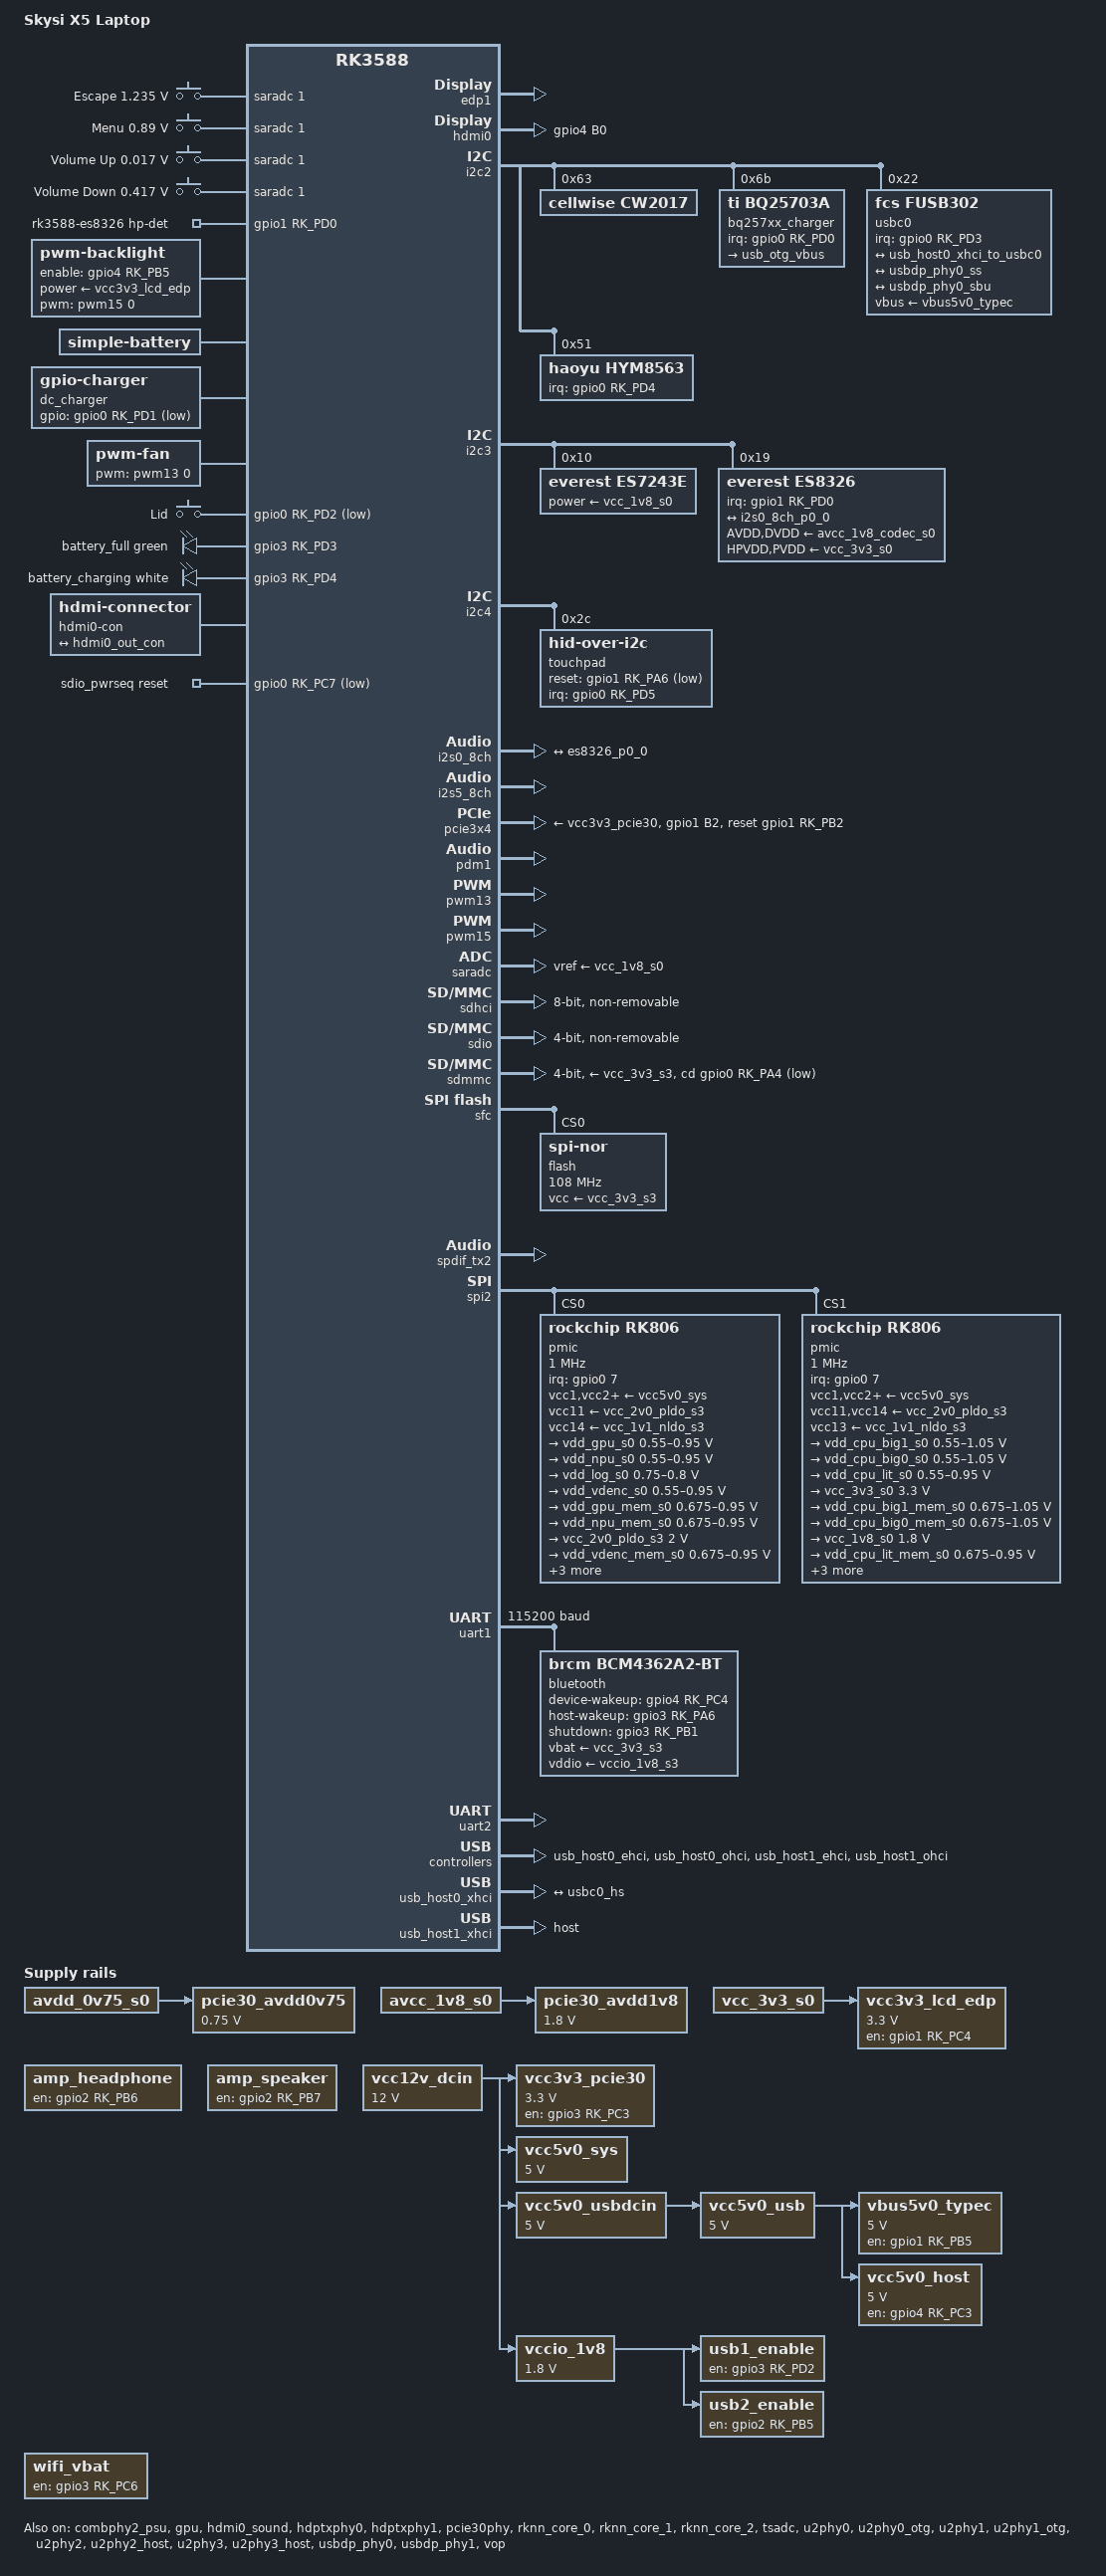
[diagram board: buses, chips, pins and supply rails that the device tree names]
// SPDX-License-Identifier: (GPL-2.0+ OR MIT)
/*
 * Copyright (c) 2026 Rockchip Electronics Co., Ltd.
 * Copyright (c) 2026 bingo1991
 */

/dts-v1/;

#include <dt-bindings/clock/rockchip,rk3588-cru.h>
#include <dt-bindings/gpio/gpio.h>
#include <dt-bindings/input/gpio-keys.h>
#include <dt-bindings/input/input.h>
#include <dt-bindings/leds/common.h>
#include <dt-bindings/pinctrl/rockchip.h>
#include <dt-bindings/pwm/pwm.h>
#include <dt-bindings/soc/rockchip,vop2.h>
#include <dt-bindings/usb/pd.h>
#include "rk3588.dtsi"

/ {
	model = "Skysi X5 Laptop";
	compatible = "rockchip,rk3588-skysi-x5", "rockchip,rk3588";
	chassis-type = "laptop";

	aliases {
		mmc0 = &sdhci;
		mmc1 = &sdmmc;
		mmc2 = &sdio;
		serial2 = &uart2;
	};

	chosen {
		stdout-path = "serial2:1500000n8";
	};

	adc-keys {
		compatible = "adc-keys";
		io-channels = <&saradc 1>;
		io-channel-names = "buttons";
		keyup-threshold-microvolt = <1800000>;
		poll-interval = <100>;

		button-escape {
			label = "Escape";
			linux,code = <KEY_ESC>;
			press-threshold-microvolt = <1235000>;
		};

		button-menu {
			label = "Menu";
			linux,code = <KEY_MENU>;
			press-threshold-microvolt = <890000>;
		};

		button-vol-up {
			label = "Volume Up";
			linux,code = <KEY_VOLUMEUP>;
			press-threshold-microvolt = <17000>;
		};

		button-vol-down {
			label = "Volume Down";
			linux,code = <KEY_VOLUMEDOWN>;
			press-threshold-microvolt = <417000>;
		};
	};

	amp_headphone: amplifier-headphone {
		compatible = "regulator-fixed";
		regulator-name = "hdp_power";
		gpio = <&gpio2 RK_PB6 GPIO_ACTIVE_HIGH>;
		enable-active-high;
		regulator-always-on;
	};

	amp_speaker: amplifier-speaker {
		compatible = "regulator-fixed";
		regulator-name = "spk_power";
		gpio = <&gpio2 RK_PB7 GPIO_ACTIVE_HIGH>;
		enable-active-high;
		regulator-always-on;
	};

	analog-sound {
		compatible = "audio-graph-card";
		label = "rk3588-es8326";

		widgets =
			"Headphone", "Headphones",
			"Speaker", "Speakers",
			"Microphone", "Headset Mic",
			"Microphone", "Main Mic";

		routing =
			"Headphones", "HPOL",
			"Headphones", "HPOR",
			"Speakers", "HPOL",
			"Speakers", "HPOR",
			"MIC1", "Headset Mic",
			"MIC2", "Main Mic";

		dais = <&i2s0_8ch_p0>;
		hp-det-gpios = <&gpio1 RK_PD0 GPIO_ACTIVE_HIGH>;
		pinctrl-names = "default";
		pinctrl-0 = <&hp_detect>;
	};

	backlight: backlight {
		compatible = "pwm-backlight";
		brightness-levels = <0 255>;
		default-brightness-level = <200>;
		num-interpolated-steps = <255>;
		power-supply = <&vcc3v3_lcd_edp>;
		pwms = <&pwm15 0 25000 0>;
		enable-gpios = <&gpio4 RK_PB5 GPIO_ACTIVE_HIGH>;
		pinctrl-names = "default";
		pinctrl-0 = <&lcd_backlight_en>;
	};

	battery: battery {
		compatible = "simple-battery";
		charge-full-design-microamp-hours = <6000000>;
		constant-charge-current-max-microamp = <5000000>;
		constant-charge-voltage-max-microvolt = <8700000>;
		voltage-max-design-microvolt = <8700000>;
		voltage-min-design-microvolt = <7600000>;
		power-supplies = <&dc_charger &bq257xx_charger>;
	};

	dc_charger: dc-charger {
		compatible = "gpio-charger";
		charger-type = "mains";
		charge-current-limit-default-microamp = <5000000>;
		gpios = <&gpio0 RK_PD1 GPIO_ACTIVE_LOW>;
		pinctrl-names = "default";
		pinctrl-0 = <&dc_det>;
		wakeup-source;
	};

	dmic_sound: dmic-sound {
		compatible = "simple-audio-card";
		simple-audio-card,format = "i2s";
		simple-audio-card,name = "rk3588-dmic";
		simple-audio-card,mclk-fs = <256>;

		simple-audio-card,cpu {
			format = "pdm";
			sound-dai = <&pdm1>;
		};

		simple-audio-card,codec {
			sound-dai = <&es7243e>;
		};
	};

	fan: pwm-fan {
		compatible = "pwm-fan";
		#cooling-cells = <2>;
		pwms = <&pwm13 0 50000 0>;
		cooling-levels = <0 120 150 180 210 240 255>;
	};

	gpio_keys: gpio-keys {
		compatible = "gpio-keys";
		pinctrl-names = "default";
		pinctrl-0 = <&sw_lid>;

		switch-lid {
			debounce-interval = <20>;
			gpios = <&gpio0 RK_PD2 GPIO_ACTIVE_LOW>;
			label = "Lid";
			linux,code = <SW_LID>;
			linux,input-type = <EV_SW>;
			wakeup-source;
		};
	};

	gpio_leds: gpio-leds {
		compatible = "gpio-leds";
		pinctrl-names = "default";
		pinctrl-0 = <&leds_gpio>;

		charge_indicator: led1 {
			color = <LED_COLOR_ID_GREEN>;
			default-state = "off";
			gpios = <&gpio3 RK_PD3 GPIO_ACTIVE_HIGH>;
			label = "battery_full";
			linux,default-trigger = "cw2017-battery-full";
			retain-state-suspended;
		};

		power_indicator: led2 {
			color = <LED_COLOR_ID_WHITE>;
			default-state = "off";
			gpios = <&gpio3 RK_PD4 GPIO_ACTIVE_HIGH>;
			label = "battery_charging";
			linux,default-trigger = "cw2017-battery-charging";
			retain-state-suspended;
		};
	};

	hdmi0-con {
		compatible = "hdmi-connector";
		type = "a";

		port {
			hdmi0_con_in: endpoint {
				remote-endpoint = <&hdmi0_out_con>;
			};
		};
	};

	pcie30_avdd0v75: regulator-pcie30-avdd0v75 {
		compatible = "regulator-fixed";
		regulator-name = "pcie30_avdd0v75";
		regulator-always-on;
		regulator-boot-on;
		regulator-min-microvolt = <750000>;
		regulator-max-microvolt = <750000>;
		vin-supply = <&avdd_0v75_s0>;
	};

	pcie30_avdd1v8: regulator-pcie30-avdd1v8 {
		compatible = "regulator-fixed";
		regulator-name = "pcie30_avdd1v8";
		regulator-always-on;
		regulator-boot-on;
		regulator-min-microvolt = <1800000>;
		regulator-max-microvolt = <1800000>;
		vin-supply = <&avcc_1v8_s0>;
	};

	vbus5v0_typec: regulator-vbus5v0-typec {
		compatible = "regulator-fixed";
		enable-active-high;
		gpios = <&gpio1 RK_PB5 GPIO_ACTIVE_HIGH>;
		pinctrl-names = "default";
		pinctrl-0 = <&typec5v_pwren>;
		regulator-name = "vbus5v0_typec";
		regulator-min-microvolt = <5000000>;
		regulator-max-microvolt = <5000000>;
		vin-supply = <&vcc5v0_usb>;
	};

	vcc12v_dcin: regulator-vcc12v-dcin {
		compatible = "regulator-fixed";
		regulator-name = "vcc12v_dcin";
		regulator-always-on;
		regulator-boot-on;
		regulator-min-microvolt = <12000000>;
		regulator-max-microvolt = <12000000>;
	};

	vcc3v3_lcd_edp: regulator-vcc3v3-lcd-edp {
		compatible = "regulator-fixed";
		enable-active-high;
		gpios = <&gpio1 RK_PC4 GPIO_ACTIVE_HIGH>;
		pinctrl-names = "default";
		pinctrl-0 = <&vcc3v3_lcd_edp_en>;
		regulator-boot-on;
		regulator-max-microvolt = <3300000>;
		regulator-min-microvolt = <3300000>;
		regulator-name = "vcc3v3_lcd_edp";
		vin-supply = <&vcc_3v3_s0>;

		regulator-state-mem {
			regulator-off-in-suspend;
		};
	};

	vcc3v3_pcie30: regulator-vcc3v3-pcie30 {
		compatible = "regulator-fixed";
		regulator-name = "vcc3v3_pcie30";
		regulator-min-microvolt = <3300000>;
		regulator-max-microvolt = <3300000>;
		enable-active-high;
		gpios = <&gpio3 RK_PC3 GPIO_ACTIVE_HIGH>;
		startup-delay-us = <5000>;
		vin-supply = <&vcc12v_dcin>;
		pinctrl-names = "default";
		pinctrl-0 = <&vcc3v3_pcie30_en>;
	};

	vcc5v0_host: regulator-vcc5v0-host {
		compatible = "regulator-fixed";
		regulator-name = "vcc5v0_host";
		regulator-boot-on;
		regulator-always-on;
		regulator-min-microvolt = <5000000>;
		regulator-max-microvolt = <5000000>;
		enable-active-high;
		gpios = <&gpio4 RK_PC3 GPIO_ACTIVE_HIGH>;
		pinctrl-names = "default";
		pinctrl-0 = <&vcc5v0_host_en>;
		vin-supply = <&vcc5v0_usb>;
	};

	vcc5v0_sys: regulator-vcc5v0-sys {
		compatible = "regulator-fixed";
		regulator-name = "vcc5v0_sys";
		regulator-always-on;
		regulator-boot-on;
		regulator-min-microvolt = <5000000>;
		regulator-max-microvolt = <5000000>;
		vin-supply = <&vcc12v_dcin>;
	};

	vcc5v0_usbdcin: regulator-vcc5v0-usbdcin {
		compatible = "regulator-fixed";
		regulator-name = "vcc5v0_usbdcin";
		regulator-always-on;
		regulator-boot-on;
		regulator-min-microvolt = <5000000>;
		regulator-max-microvolt = <5000000>;
		vin-supply = <&vcc12v_dcin>;
	};

	vcc5v0_usb: regulator-vcc5v0-usb {
		compatible = "regulator-fixed";
		regulator-name = "vcc5v0_usb";
		regulator-always-on;
		regulator-boot-on;
		regulator-min-microvolt = <5000000>;
		regulator-max-microvolt = <5000000>;
		vin-supply = <&vcc5v0_usbdcin>;
	};

	vccio_1v8: regulator-vccio-1v8 {
		compatible = "regulator-fixed";
		regulator-always-on;
		regulator-boot-on;
		regulator-min-microvolt = <1800000>;
		regulator-max-microvolt = <1800000>;
		regulator-name = "vccio_1v8";
		vin-supply = <&vcc12v_dcin>;
	};

	wifi_vbat: regulator-wifi-vbat {
		compatible = "regulator-fixed";
		enable-active-high;
		gpios = <&gpio3 RK_PC6 GPIO_ACTIVE_HIGH>;
		pinctrl-names = "default";
		pinctrl-0 = <&wifi_pwren>;
		regulator-always-on;
		regulator-boot-on;
		regulator-name = "wifi_vbat";
	};

	sdio_pwrseq: sdio-pwrseq {
		compatible = "mmc-pwrseq-simple";
		clocks = <&hym8563>;
		clock-names = "ext_clock";
		pinctrl-names = "default";
		pinctrl-0 = <&wifi_enable_h>;
		/*
		 * On the module itself this is one of these (depending
		 * on the actual card populated):
		 * - SDIO_RESET_L_WL_REG_ON
		 * - PDN (power down when low)
		 */
		post-power-on-delay-ms = <200>;
		reset-gpios = <&gpio0 RK_PC7 GPIO_ACTIVE_LOW>;
	};

	usb1_enable: regulator-usb1-enable {
		compatible = "regulator-fixed";
		regulator-name = "usb1_enable";
		gpio = <&gpio3 RK_PD2 GPIO_ACTIVE_HIGH>;
		enable-active-high;
		regulator-always-on;
		regulator-boot-on;
		vin-supply = <&vccio_1v8>;
	};

	usb2_enable: regulator-usb2-enable {
		compatible = "regulator-fixed";
		regulator-name = "usb2_enable";
		gpio = <&gpio2 RK_PB5 GPIO_ACTIVE_HIGH>;
		enable-active-high;
		regulator-always-on;
		regulator-boot-on;
		vin-supply = <&vccio_1v8>;
	};
};

&combphy0_ps {	// PCIe2.0 or SATA3.0 Combo PHY0
	status = "disabled";
};

&combphy1_ps {	// PCIe2.0 or SATA3.0 Combo PHY1
	status = "disabled";
};

&combphy2_psu {	// PCIe2.0 or SATA3.0 or USB3.0 HOST Combo PHY2
	status = "okay";
};

&cpu_b0 {
	cpu-supply = <&vdd_cpu_big0_s0>;
};

&cpu_b1 {
	cpu-supply = <&vdd_cpu_big0_s0>;
};

&cpu_b2 {
	cpu-supply = <&vdd_cpu_big1_s0>;
};

&cpu_b3 {
	cpu-supply = <&vdd_cpu_big1_s0>;
};

&cpu_l0 {
	cpu-supply = <&vdd_cpu_lit_s0>;
};

&cpu_l1 {
	cpu-supply = <&vdd_cpu_lit_s0>;
};

&cpu_l2 {
	cpu-supply = <&vdd_cpu_lit_s0>;
};

&cpu_l3 {
	cpu-supply = <&vdd_cpu_lit_s0>;
};

&edp1 {
	force-hpd;
	status = "okay";

	aux-bus {
		panel {
			/* Autual panel AUO403D(B140HAN04.0) has applicable EDID timing
			   Use compatible BOE panel timing, but set bpc to 8 */
			compatible = "boe,nv140fhmn49";
			backlight = <&backlight>;
			bpc = <8>;
			power-supply = <&vcc3v3_lcd_edp>;
			no-hpd;

			port {
				panel_in_edp1: endpoint {
					remote-endpoint = <&edp1_out_panel>;
				};
			};
		};
	};
};

&edp1_in {
	edp1_in_vp2: endpoint {
		remote-endpoint = <&vp2_out_edp1>;
	};
};

&edp1_out {
	edp1_out_panel: endpoint {
		remote-endpoint = <&panel_in_edp1>;
	};
};

&gpu {
	mali-supply = <&vdd_gpu_s0>;
	sram-supply = <&vdd_gpu_mem_s0>;
	status = "okay";
};

&hdmi0 {
	pinctrl-names = "default";
	pinctrl-0 = <&hdmi_en &hdmim0_tx0_hpd
		     &hdmim0_tx0_scl &hdmim0_tx0_sda>;
	status = "okay";
};

&hdmi0_in {
	hdmi0_in_vp1: endpoint {
		remote-endpoint = <&vp1_out_hdmi0>;
	};
};

&hdmi0_out {
	hdmi0_out_con: endpoint {
		remote-endpoint = <&hdmi0_con_in>;
	};
};

&hdmi0_sound {
	status = "okay";
};

&hdptxphy0 {	// HDMI or eDP Combo PHY0, use as hdmi0
	status = "okay";
};

&hdptxphy1 {	// HDMI or eDP Combo PHY1, use as edp1
	status = "okay";
};

&i2c2 {
	i2c-scl-rising-time-ns = <600>;
	i2c-scl-falling-time-ns = <20>;
	status = "okay";

	cw2017@63 {
		compatible = "cellwise,cw2017";
		reg = <0x63>;

		cellwise,battery-profile = <
			0x32000000 0x00000000 0xa2bfc9f0 0xacb19755 0x42ffffff
			0xe0b39080 0x604a2480 0xacd995d3 0xd1cfcfcc 0xc9abee99
			0xbab7bb9f 0x8c817468 0x5b5d6f8a 0xa08f573d 0x00009002
			0x00000000 0x00006400 0x00000000 0x00000000 0x00000079
		>;

		cellwise,alert-level = <10>;
		cellwise,design-capacity-amh = <6000>;
		cellwise,dual-cell;
		cellwise,monitor-interval-ms = <3000>;
		monitored-battery = <&battery>;
		power-supplies = <&dc_charger &bq257xx_charger>;
		status = "okay";
	};

	bq257xx_charger: sc8886@6b {
		compatible = "ti,bq25703a";
		reg = <0x6b>;

		interrupt-parent = <&gpio0>;
		interrupts = <RK_PD0 IRQ_TYPE_LEVEL_LOW>;
		pinctrl-names = "default";
		pinctrl-0 = <&charger_int_h &otg_enable_h>;

		input-current-limit-microamp = <5000000>;
		monitored-battery = <&battery>;
		power-supplies = <&usbc0>;

		regulators {
			usb_otg_vbus: vbus {
				enable-gpios = <&gpio3 RK_PD5 GPIO_ACTIVE_HIGH>;
				regulator-max-microamp = <3000000>;
				regulator-min-microamp = <512000>;
				regulator-name = "usb_otg_vbus";
			};
		};
	};

	usbc0: usb-typec@22 {
		compatible = "fcs,fusb302";
		reg = <0x22>;
		interrupt-parent = <&gpio0>;
		interrupts = <RK_PD3 IRQ_TYPE_LEVEL_LOW>;
		pinctrl-names = "default";
		pinctrl-0 = <&usbc0_int>;
		vbus-supply = <&vbus5v0_typec>;
		status = "okay";

		usb_con: connector {
			compatible = "usb-c-connector";
			label = "USB-C";
			data-role = "dual";
			/* fusb302 supports PD Rev 2.0 Ver 1.2 */
			pd-revision = /bits/ 8 <0x2 0x0 0x1 0x2>;
			op-sink-microwatt = <1000000>;
			power-role = "dual";
			sink-pdos =
				<PDO_FIXED(5000, 1000, PDO_FIXED_USB_COMM)
				 PDO_FIXED(15000, 3000, PDO_FIXED_USB_COMM)>;
			source-pdos =
				<PDO_FIXED(5000, 3000, PDO_FIXED_USB_COMM)>;
			try-power-role = "sink";

			altmodes {
				displayport {
					svid = /bits/ 16 <0xff01>;
					vdo = <0xffffffff>;
				};
			};

			ports {
				#address-cells = <1>;
				#size-cells = <0>;

				port@0 {
					reg = <0>;
					usbc0_hs: endpoint {
						remote-endpoint = <&usb_host0_xhci_to_usbc0>;
					};
				};

				port@1 {
					reg = <1>;
					usbc0_ss: endpoint {
						remote-endpoint = <&usbdp_phy0_ss>;
					};
				};

				port@2 {
					reg = <2>;
					usbc0_sbu: endpoint {
						remote-endpoint = <&usbdp_phy0_sbu>;
					};
				};
			};
		};
	};

	hym8563: hym8563@51 {
		compatible = "haoyu,hym8563";
		reg = <0x51>;
		#clock-cells = <0>;
		clock-output-names = "hym8563";
		pinctrl-names = "default";
		pinctrl-0 = <&hym8563_int>;
		interrupt-parent = <&gpio0>;
		interrupts = <RK_PD4 IRQ_TYPE_LEVEL_LOW>;
		wakeup-source;
	};
};

&i2c3 {
	status = "okay";

	es7243e: audio-adc@10 {
		compatible = "everest,es7243e";
		reg = <0x10>;
		power-supply = <&vcc_1v8_s0>;
		#sound-dai-cells = <0>;
	};

	es8326: audio-codec@19 {
		compatible = "everest,es8326";
		reg = <0x19>;
		clocks = <&cru I2S0_8CH_MCLKOUT>;
		assigned-clocks = <&cru I2S0_8CH_MCLKOUT>;
		assigned-clock-rates = <12288000>;
		AVDD-supply = <&avcc_1v8_codec_s0>;
		DVDD-supply = <&avcc_1v8_codec_s0>;
		HPVDD-supply = <&vcc_3v3_s0>;
		PVDD-supply = <&vcc_3v3_s0>;
		#sound-dai-cells = <0>;

		interrupt-parent = <&gpio1>;
		interrupts = <RK_PD0 GPIO_ACTIVE_LOW>;
		mic1-src = <22>;
		mic2-src = <44>;
		jack-pol = <07>;

		port {
			es8326_p0_0: endpoint {
				remote-endpoint = <&i2s0_8ch_p0_0>;
			};
		};
	};
};

/* for kaihong botbook only */
&i2c4 {
	pinctrl-names = "default";
	pinctrl-0 = <&i2c4m3_xfer>;
	status = "okay";

	touchpad: touchpad@2c {
		compatible = "hid-over-i2c";
		reg = <0x2c>;
		pinctrl-names = "default";
		pinctrl-0 = <&tp_reset_gpio &tp_irq_gpio>;
		interrupt-parent = <&gpio0>;
		interrupts = <RK_PD5 IRQ_TYPE_LEVEL_LOW>;
		reset-gpios = <&gpio1 RK_PA6 GPIO_ACTIVE_LOW>;
		hid-descr-addr = <0x20>;
		wakeup-source;
	};
};

&i2s0_8ch {
	pinctrl-names = "default";
	pinctrl-0 = <&i2s0_lrck
		     &i2s0_sclk
		     &i2s0_sdi0
		     &i2s0_sdi1
		     &i2s0_sdi2
		     &i2s0_sdo0>;
	status = "okay";

	i2s0_8ch_p0: port {
		i2s0_8ch_p0_0: endpoint {
			dai-format = "i2s";
			mclk-fs = <256>;
			remote-endpoint = <&es8326_p0_0>;
		};
	};
};

&i2s5_8ch {
	status = "okay";
};

&pcie30phy {
	status = "okay";
};

&pcie3x4 {
	pinctrl-names = "default";
	pinctrl-0 = <&pcie3_reset>;
	reset-gpios = <&gpio1 RK_PB2 GPIO_ACTIVE_HIGH>;
	vpcie3v3-supply = <&vcc3v3_pcie30>;
	status = "okay";
};

&pdm1{
	pinctrl-names = "default";
	pinctrl-0 = <&pdm1m1_clk &pdm1m1_sdi0>;
	pinctrl-1 = <&pdm1m1_idle>;
	pinctrl-2 = <&pdm1m1_clk &pdm1m1_clk1>;
	status = "okay";
};

&pinctrl {
	audio {
		hp_detect: headphone-detect {
			rockchip,pins = <1 RK_PD0 RK_FUNC_GPIO &pcfg_pull_none>;
		};

		headphone_amplifier_en: headphone-amplifier-en {
			rockchip,pins = <2 RK_PB6 RK_FUNC_GPIO &pcfg_pull_none>;
		};

		speaker_amplifier_en: speaker-amplifier-en {
			rockchip,pins = <2 RK_PB7 RK_FUNC_GPIO &pcfg_pull_none>;
		};
	};

	bluetooth {
		uart1_gpios: uart1-gpios {
			rockchip,pins = <1 RK_PD6 RK_FUNC_GPIO &pcfg_pull_none>;
		};

		bt_reset_gpio: bt-reset-gpio {
			rockchip,pins = <3 RK_PB1 RK_FUNC_GPIO &pcfg_pull_none>;
		};

		bt_wake_gpio: bt-wake-gpio {
			rockchip,pins = <4 RK_PC4 RK_FUNC_GPIO &pcfg_pull_none>;
		};

		bt_irq_gpio: bt-irq-gpio {
			rockchip,pins = <3 RK_PA6 RK_FUNC_GPIO &pcfg_pull_down>;
		};
	};

	charger {
		charger_int_h: charger-int-h {
			rockchip,pins = <0 RK_PD0 RK_FUNC_GPIO &pcfg_pull_up>;
		};

		dc_det: dc-det {
			rockchip,pins = <0 RK_PD1 RK_FUNC_GPIO &pcfg_pull_up>;
		};

		otg_enable_h: otg-enable-h {
			rockchip,pins = <3 RK_PD5 RK_FUNC_GPIO &pcfg_pull_none>;
		};
	};

	display {
		hdmi_en: hdmi-en {
			rockchip,pins = <4 RK_PB0 RK_FUNC_GPIO &pcfg_output_high>;
		};

		lcd_backlight_en: lcd-backlight-en {
			rockchip,pins = <4 RK_PB5 RK_FUNC_GPIO &pcfg_pull_none>;
		};

		vcc3v3_lcd_edp_en: vcc3v3-lcd-edp-en {
			rockchip,pins = <1 RK_PC4 RK_FUNC_GPIO &pcfg_pull_none>;
		};
	};

	gpio-keys {
		sw_lid: sw-lid {
			rockchip,pins = <0 RK_PD2 RK_FUNC_GPIO &pcfg_pull_up>;
		};
	};

	gpio-leds {
		leds_gpio: leds-gpio {
			rockchip,pins = <3 RK_PC1 RK_FUNC_GPIO &pcfg_output_high>;
		};
	};

	hym8563 {
		hym8563_int: hym8563-int {
			rockchip,pins = <0 RK_PD4 RK_FUNC_GPIO &pcfg_pull_up>;
		};
	};

	pcie3 {
		pcie3_reset: pcie3-reset {
			rockchip,pins = <1 RK_PB2 RK_FUNC_GPIO &pcfg_pull_none>;
		};

		vcc3v3_pcie30_en: vcc3v3-pcie30-en {
			rockchip,pins = <3 RK_PC3 RK_FUNC_GPIO &pcfg_pull_none>;
		};
	};

	sdio-pwrseq {
		wifi_enable_h: wifi-enable-h {
			rockchip,pins = <0 RK_PC7 RK_FUNC_GPIO &pcfg_pull_none>;
		};
	};

	// for kaihong botbook
	toudchpad {
		tp_irq_gpio: pen-int-odl {
			rockchip,pins = <0 RK_PD5 RK_FUNC_GPIO &pcfg_pull_up>;
		};

		tp_reset_gpio: pen-reset-l {
			rockchip,pins = <1 RK_PA6 RK_FUNC_GPIO &pcfg_pull_none>;
		};
	};

	usb {
		vcc5v0_host_en: vcc5v0-host-en {
			rockchip,pins = <4 RK_PC3 RK_FUNC_GPIO &pcfg_pull_none>,
					<3 RK_PC0 RK_FUNC_GPIO &pcfg_output_high>;
		};
	};

	usb-typec {
		typec5v_pwren: typec5v-pwren {
			rockchip,pins = <1 RK_PB5 RK_FUNC_GPIO &pcfg_pull_none>;
		};

		usbc0_int: usbc0-int {
			rockchip,pins = <0 RK_PD3 RK_FUNC_GPIO &pcfg_pull_up>;
		};

		usbc0_sbu1: usbc0-sbu1 {
			rockchip,pins = <4 RK_PA6 RK_FUNC_GPIO &pcfg_pull_none>;
		};

		usbc0_sbu2: usbc0-sbu2 {
			rockchip,pins = <4 RK_PA7 RK_FUNC_GPIO &pcfg_pull_none>;
		};
	};

	wlan {
		wifi_host_wake_irq: wifi-host-wake-irq {
			rockchip,pins = <0 RK_PC4 RK_FUNC_GPIO &pcfg_pull_down>;
		};

		wifi_pwren: wifi-pwren {
			rockchip,pins = <3 RK_PC6 RK_FUNC_GPIO &pcfg_pull_up>;
		};
	};
};

&pwm13 {
	pinctrl-0 = <&pwm13m1_pins>;
	status = "okay";
};

&pwm15 {
	pinctrl-0 = <&pwm15m1_pins>;
	status = "okay";
};

&rknn_core_0 {
	npu-supply = <&vdd_npu_s0>;
	sram-supply = <&vdd_npu_mem_s0>;
	status = "okay";
};

&rknn_core_1 {
	npu-supply = <&vdd_npu_s0>;
	sram-supply = <&vdd_npu_mem_s0>;
	status = "okay";
};

&rknn_core_2 {
	npu-supply = <&vdd_npu_s0>;
	sram-supply = <&vdd_npu_mem_s0>;
	status = "okay";
};

&rknn_mmu_0 {
	status = "okay";
};

&rknn_mmu_1 {
	status = "okay";
};

&rknn_mmu_2 {
	status = "okay";
};

&saradc {
	vref-supply = <&vcc_1v8_s0>;
	status = "okay";
};

&sdhci {
	bus-width = <8>;
	max-frequency = <200000000>;
	mmc-hs400-1_8v;
	mmc-hs400-enhanced-strobe;
	no-sd;
	no-sdio;
	non-removable;
	status = "okay";
};

&sdio {
	#address-cells = <1>;
	#size-cells = <0>;
	pinctrl-names = "default";
	pinctrl-0 = <&sdiom1_pins>;
	bus-width = <4>;
	cap-sd-highspeed;
	cap-sdio-irq;
	disable-wp;
	keep-power-in-suspend;
	max-frequency = <150000000>;
	mmc-pwrseq = <&sdio_pwrseq>;
	no-mmc;
	non-removable;
	no-sd;
	sd-uhs-sdr104;
	status = "okay";

/*
	brcmf: wifi@1 {
		compatible = "brcm,bcm43752-fmac";
		reg = <1>;
		interrupt-parent = <&gpio0>;
		interrupts = <RK_PC4 IRQ_TYPE_LEVEL_HIGH>;
		interrupt-names = "host-wake";
		pinctrl-0 = <&wifi_host_wake_irq>;
		pinctrl-names = "default";
	};
*/
};

&sdmmc {
	bus-width = <4>;
	cap-mmc-highspeed;
	cap-sd-highspeed;
	cd-gpios = <&gpio0 RK_PA4 GPIO_ACTIVE_LOW>;
	disable-wp;
	max-frequency = <150000000>;
	no-mmc;
	no-sdio;
	pinctrl-names = "default";
	pinctrl-0 = <&sdmmc_bus4 &sdmmc_clk &sdmmc_cmd &sdmmc_det>;
	sd-uhs-sdr104;
	vmmc-supply = <&vcc_3v3_s3>;
	vqmmc-supply = <&vccio_sd_s0>;
	status = "okay";
};

&sfc {
	pinctrl-names = "default";
	pinctrl-0 = <&fspim1_pins>;
	status = "okay";

	flash@0 {
		compatible = "jedec,spi-nor";
		reg = <0x0>;
		spi-max-frequency = <108000000>;
		spi-rx-bus-width = <2>;
		spi-tx-bus-width = <2>;
		vcc-supply = <&vcc_3v3_s3>;
	};
};

&spdif_tx2 {
	status = "okay";
};

&spi2 {
	status = "okay";
	assigned-clocks = <&cru CLK_SPI2>;
	assigned-clock-rates = <200000000>;
	num-cs = <2>;

	pmic@0 {
		compatible = "rockchip,rk806";
		reg = <0x0>;
		#gpio-cells = <2>;
		gpio-controller;
		interrupt-parent = <&gpio0>;
		interrupts = <7 IRQ_TYPE_LEVEL_LOW>;
		pinctrl-0 = <&pmic_pins>, <&rk806_dvs1_null>,
			    <&rk806_dvs2_null>, <&rk806_dvs3_null>;
		pinctrl-names = "default";
		spi-max-frequency = <1000000>;
		system-power-controller;

		vcc1-supply = <&vcc5v0_sys>;
		vcc2-supply = <&vcc5v0_sys>;
		vcc3-supply = <&vcc5v0_sys>;
		vcc4-supply = <&vcc5v0_sys>;
		vcc5-supply = <&vcc5v0_sys>;
		vcc6-supply = <&vcc5v0_sys>;
		vcc7-supply = <&vcc5v0_sys>;
		vcc8-supply = <&vcc5v0_sys>;
		vcc9-supply = <&vcc5v0_sys>;
		vcc10-supply = <&vcc5v0_sys>;
		vcc11-supply = <&vcc_2v0_pldo_s3>;
		vcc12-supply = <&vcc5v0_sys>;
		vcc13-supply = <&vcc5v0_sys>;
		vcc14-supply = <&vcc_1v1_nldo_s3>;
		vcca-supply = <&vcc5v0_sys>;

		rk806_dvs1_null: dvs1-null-pins {
			pins = "gpio_pwrctrl1";
			function = "pin_fun0";
		};

		rk806_dvs2_null: dvs2-null-pins {
			pins = "gpio_pwrctrl2";
			function = "pin_fun0";
		};

		rk806_dvs3_null: dvs3-null-pins {
			pins = "gpio_pwrctrl3";
			function = "pin_fun0";
		};

		regulators {
			vdd_gpu_s0: dcdc-reg1 {
				/* regulator coupling requires always-on */
				regulator-always-on;
				regulator-boot-on;
				regulator-min-microvolt = <550000>;
				regulator-max-microvolt = <950000>;
				regulator-ramp-delay = <12500>;
				regulator-name = "vdd_gpu_s0";
				regulator-enable-ramp-delay = <400>;
				regulator-coupled-with = <&vdd_gpu_mem_s0>;
				regulator-coupled-max-spread = <10000>;
				regulator-state-mem {
					regulator-off-in-suspend;
				};
			};

			vdd_npu_s0: dcdc-reg2 {
				regulator-always-on;
				regulator-boot-on;
				regulator-min-microvolt = <550000>;
				regulator-max-microvolt = <950000>;
				regulator-ramp-delay = <12500>;
				regulator-name = "vdd_npu_s0";
				regulator-state-mem {
					regulator-off-in-suspend;
				};
			};

			vdd_log_s0: dcdc-reg3 {
				regulator-always-on;
				regulator-boot-on;
				regulator-min-microvolt = <750000>;
				regulator-max-microvolt = <800000>;
				regulator-ramp-delay = <12500>;
				regulator-name = "vdd_log_s0";
				regulator-state-mem {
					regulator-off-in-suspend;
					regulator-suspend-microvolt = <750000>;
				};
			};

			vdd_vdenc_s0: dcdc-reg4 {
				regulator-always-on;
				regulator-boot-on;
				regulator-min-microvolt = <550000>;
				regulator-max-microvolt = <950000>;
				regulator-ramp-delay = <12500>;
				regulator-name = "vdd_vdenc_s0";
				regulator-state-mem {
					regulator-off-in-suspend;
				};
			};

			vdd_gpu_mem_s0: dcdc-reg5 {
				/* regulator coupling requires always-on */
				regulator-always-on;
				regulator-boot-on;
				regulator-min-microvolt = <675000>;
				regulator-max-microvolt = <950000>;
				regulator-ramp-delay = <12500>;
				regulator-enable-ramp-delay = <400>;
				regulator-name = "vdd_gpu_mem_s0";
				regulator-coupled-with = <&vdd_gpu_s0>;
				regulator-coupled-max-spread = <10000>;
				regulator-state-mem {
					regulator-off-in-suspend;
				};
			};

			vdd_npu_mem_s0: dcdc-reg6 {
				regulator-always-on;
				regulator-boot-on;
				regulator-min-microvolt = <675000>;
				regulator-max-microvolt = <950000>;
				regulator-ramp-delay = <12500>;
				regulator-name = "vdd_npu_mem_s0";
				regulator-state-mem {
					regulator-off-in-suspend;
				};
			};

			vcc_2v0_pldo_s3: dcdc-reg7 {
				regulator-always-on;
				regulator-boot-on;
				regulator-min-microvolt = <2000000>;
				regulator-max-microvolt = <2000000>;
				regulator-ramp-delay = <12500>;
				regulator-name = "vdd_2v0_pldo_s3";
				regulator-state-mem {
					regulator-on-in-suspend;
					regulator-suspend-microvolt = <2000000>;
				};
			};

			vdd_vdenc_mem_s0: dcdc-reg8 {
				regulator-always-on;
				regulator-boot-on;
				regulator-min-microvolt = <675000>;
				regulator-max-microvolt = <950000>;
				regulator-ramp-delay = <12500>;
				regulator-name = "vdd_vdenc_mem_s0";
				regulator-state-mem {
					regulator-off-in-suspend;
				};
			};

			vdd2_ddr_s3: dcdc-reg9 {
				regulator-always-on;
				regulator-boot-on;
				regulator-name = "vdd2_ddr_s3";
				regulator-state-mem {
					regulator-on-in-suspend;
				};
			};

			vcc_1v1_nldo_s3: dcdc-reg10 {
				regulator-always-on;
				regulator-boot-on;
				regulator-min-microvolt = <1100000>;
				regulator-max-microvolt = <1100000>;
				regulator-ramp-delay = <12500>;
				regulator-name = "vcc_1v1_nldo_s3";
				regulator-state-mem {
					regulator-on-in-suspend;
					regulator-suspend-microvolt = <1100000>;
				};
			};

			avcc_1v8_s0: pldo-reg1 {
				regulator-always-on;
				regulator-boot-on;
				regulator-min-microvolt = <1800000>;
				regulator-max-microvolt = <1800000>;
				regulator-ramp-delay = <12500>;
				regulator-name = "avcc_1v8_s0";
				regulator-state-mem {
					regulator-off-in-suspend;
				};
			};

			vdd1_1v8_ddr_s3: pldo-reg2 {
				regulator-always-on;
				regulator-boot-on;
				regulator-min-microvolt = <1800000>;
				regulator-max-microvolt = <1800000>;
				regulator-ramp-delay = <12500>;
				regulator-name = "vdd1_1v8_ddr_s3";
				regulator-state-mem {
					regulator-on-in-suspend;
					regulator-suspend-microvolt = <1800000>;
				};
			};

			avcc_1v8_codec_s0: pldo-reg3 {
				regulator-always-on;
				regulator-boot-on;
				regulator-min-microvolt = <1800000>;
				regulator-max-microvolt = <1800000>;
				regulator-ramp-delay = <12500>;
				regulator-name = "avcc_1v8_codec_s0";
				regulator-state-mem {
					regulator-on-in-suspend;
					regulator-suspend-microvolt = <1800000>;
				};
			};

			vcc_3v3_s3: pldo-reg4 {
				regulator-always-on;
				regulator-boot-on;
				regulator-min-microvolt = <3300000>;
				regulator-max-microvolt = <3300000>;
				regulator-ramp-delay = <12500>;
				regulator-name = "vcc_3v3_s3";
				regulator-state-mem {
					regulator-on-in-suspend;
					regulator-suspend-microvolt = <3300000>;
				};
			};

			vccio_sd_s0: pldo-reg5 {
				regulator-always-on;
				regulator-boot-on;
				regulator-min-microvolt = <1800000>;
				regulator-max-microvolt = <3300000>;
				regulator-ramp-delay = <12500>;
				regulator-name = "vccio_sd_s0";
				regulator-state-mem {
					regulator-off-in-suspend;
				};
			};

			vccio_1v8_s3: pldo-reg6 {
				regulator-always-on;
				regulator-boot-on;
				regulator-min-microvolt = <1800000>;
				regulator-max-microvolt = <1800000>;
				regulator-ramp-delay = <12500>;
				regulator-name = "vccio_1v8_s3";
				regulator-state-mem {
					regulator-on-in-suspend;
					regulator-suspend-microvolt = <1800000>;
				};
			};

			vdd_0v75_s3: nldo-reg1 {
				regulator-always-on;
				regulator-boot-on;
				regulator-min-microvolt = <750000>;
				regulator-max-microvolt = <750000>;
				regulator-ramp-delay = <12500>;
				regulator-name = "vdd_0v75_s3";
				regulator-state-mem {
					regulator-on-in-suspend;
					regulator-suspend-microvolt = <750000>;
				};
			};

			vdd2l_0v9_ddr_s3: nldo-reg2 {
				regulator-always-on;
				regulator-boot-on;
				regulator-min-microvolt = <900000>;
				regulator-max-microvolt = <900000>;
				regulator-name = "vdd2l_0v9_ddr_s3";
				regulator-state-mem {
					regulator-on-in-suspend;
					regulator-suspend-microvolt = <900000>;
				};
			};

			vdd_0v75_hdmi_edp_s0: nldo-reg3 {
				regulator-always-on;
				regulator-boot-on;
				regulator-min-microvolt = <750000>;
				regulator-max-microvolt = <750000>;
				regulator-name = "vdd_0v75_hdmi_edp_s0";
				regulator-state-mem {
					regulator-off-in-suspend;
				};
			};

			avdd_0v75_s0: nldo-reg4 {
				regulator-always-on;
				regulator-boot-on;
				regulator-min-microvolt = <750000>;
				regulator-max-microvolt = <750000>;
				regulator-name = "avdd_0v75_s0";
				regulator-state-mem {
					regulator-off-in-suspend;
				};
			};

			vdd_0v85_s0: nldo-reg5 {
				regulator-always-on;
				regulator-boot-on;
				regulator-min-microvolt = <850000>;
				regulator-max-microvolt = <850000>;
				regulator-name = "vdd_0v85_s0";
				regulator-state-mem {
					regulator-off-in-suspend;
				};
			};
		};
	};

	pmic@1 {
		compatible = "rockchip,rk806";
		reg = <0x01>;
		#gpio-cells = <2>;
		gpio-controller;
		interrupt-parent = <&gpio0>;
		interrupts = <7 IRQ_TYPE_LEVEL_LOW>;
		pinctrl-0 = <&rk806_slave_dvs1_null>, <&rk806_slave_dvs2_null>,
			    <&rk806_slave_dvs3_null>;
		pinctrl-names = "default";
		spi-max-frequency = <1000000>;

		vcc1-supply = <&vcc5v0_sys>;
		vcc2-supply = <&vcc5v0_sys>;
		vcc3-supply = <&vcc5v0_sys>;
		vcc4-supply = <&vcc5v0_sys>;
		vcc5-supply = <&vcc5v0_sys>;
		vcc6-supply = <&vcc5v0_sys>;
		vcc7-supply = <&vcc5v0_sys>;
		vcc8-supply = <&vcc5v0_sys>;
		vcc9-supply = <&vcc5v0_sys>;
		vcc10-supply = <&vcc5v0_sys>;
		vcc11-supply = <&vcc_2v0_pldo_s3>;
		vcc12-supply = <&vcc5v0_sys>;
		vcc13-supply = <&vcc_1v1_nldo_s3>;
		vcc14-supply = <&vcc_2v0_pldo_s3>;
		vcca-supply = <&vcc5v0_sys>;

		rk806_slave_dvs1_null: dvs1-null-pins {
			pins = "gpio_pwrctrl1";
			function = "pin_fun0";
		};

		rk806_slave_dvs2_null: dvs2-null-pins {
			pins = "gpio_pwrctrl2";
			function = "pin_fun0";
		};

		rk806_slave_dvs3_null: dvs3-null-pins {
			pins = "gpio_pwrctrl3";
			function = "pin_fun0";
		};

		regulators {
			vdd_cpu_big1_s0: dcdc-reg1 {
				regulator-always-on;
				regulator-boot-on;
				regulator-coupled-with = <&vdd_cpu_big1_mem_s0>;
				regulator-coupled-max-spread = <10000>;
				regulator-min-microvolt = <550000>;
				regulator-max-microvolt = <1050000>;
				regulator-ramp-delay = <12500>;
				regulator-name = "vdd_cpu_big1_s0";
				regulator-state-mem {
					regulator-off-in-suspend;
				};
			};

			vdd_cpu_big0_s0: dcdc-reg2 {
				regulator-always-on;
				regulator-boot-on;
				regulator-coupled-with = <&vdd_cpu_big0_mem_s0>;
				regulator-coupled-max-spread = <10000>;
				regulator-min-microvolt = <550000>;
				regulator-max-microvolt = <1050000>;
				regulator-ramp-delay = <12500>;
				regulator-name = "vdd_cpu_big0_s0";
				regulator-state-mem {
					regulator-off-in-suspend;
				};
			};

			vdd_cpu_lit_s0: dcdc-reg3 {
				regulator-always-on;
				regulator-boot-on;
				regulator-coupled-with = <&vdd_cpu_lit_mem_s0>;
				regulator-coupled-max-spread = <10000>;
				regulator-min-microvolt = <550000>;
				regulator-max-microvolt = <950000>;
				regulator-ramp-delay = <12500>;
				regulator-name = "vdd_cpu_lit_s0";
				regulator-state-mem {
					regulator-off-in-suspend;
				};
			};

			vcc_3v3_s0: dcdc-reg4 {
				regulator-always-on;
				regulator-boot-on;
				regulator-min-microvolt = <3300000>;
				regulator-max-microvolt = <3300000>;
				regulator-ramp-delay = <12500>;
				regulator-name = "vcc_3v3_s0";
				regulator-state-mem {
					regulator-on-in-suspend;
					regulator-suspend-microvolt = <3300000>;
				};
			};

			vdd_cpu_big1_mem_s0: dcdc-reg5 {
				regulator-always-on;
				regulator-boot-on;
				regulator-coupled-with = <&vdd_cpu_big1_s0>;
				regulator-coupled-max-spread = <10000>;
				regulator-min-microvolt = <675000>;
				regulator-max-microvolt = <1050000>;
				regulator-ramp-delay = <12500>;
				regulator-name = "vdd_cpu_big1_mem_s0";
				regulator-state-mem {
					regulator-off-in-suspend;
				};
			};


			vdd_cpu_big0_mem_s0: dcdc-reg6 {
				regulator-always-on;
				regulator-boot-on;
				regulator-coupled-with = <&vdd_cpu_big0_s0>;
				regulator-coupled-max-spread = <10000>;
				regulator-min-microvolt = <675000>;
				regulator-max-microvolt = <1050000>;
				regulator-ramp-delay = <12500>;
				regulator-name = "vdd_cpu_big0_mem_s0";
				regulator-state-mem {
					regulator-off-in-suspend;
				};
			};

			vcc_1v8_s0: dcdc-reg7 {
				regulator-always-on;
				regulator-boot-on;
				regulator-min-microvolt = <1800000>;
				regulator-max-microvolt = <1800000>;
				regulator-ramp-delay = <12500>;
				regulator-name = "vcc_1v8_s0";
				regulator-state-mem {
					regulator-on-in-suspend;
					regulator-suspend-microvolt = <1800000>;
				};
			};

			vdd_cpu_lit_mem_s0: dcdc-reg8 {
				regulator-always-on;
				regulator-boot-on;
				regulator-coupled-with = <&vdd_cpu_lit_s0>;
				regulator-coupled-max-spread = <10000>;
				regulator-min-microvolt = <675000>;
				regulator-max-microvolt = <950000>;
				regulator-ramp-delay = <12500>;
				regulator-name = "vdd_cpu_lit_mem_s0";
				regulator-state-mem {
					regulator-off-in-suspend;
				};
			};

			vddq_ddr_s0: dcdc-reg9 {
				regulator-always-on;
				regulator-boot-on;
				regulator-name = "vddq_ddr_s0";
				regulator-state-mem {
					regulator-off-in-suspend;
				};
			};

			vdd_ddr_s0: dcdc-reg10 {
				regulator-always-on;
				regulator-boot-on;
				regulator-min-microvolt = <850000>;
				regulator-max-microvolt = <900000>;
				regulator-ramp-delay = <12500>;
				regulator-name = "vdd_ddr_s0";
				regulator-state-mem {
					regulator-off-in-suspend;
				};
			};

			vcc_1v8_cam_s0: pldo-reg1 {
				regulator-always-on;
				regulator-boot-on;
				regulator-min-microvolt = <1800000>;
				regulator-max-microvolt = <1800000>;
				regulator-ramp-delay = <12500>;
				regulator-name = "vcc_1v8_cam_s0";
				regulator-state-mem {
					regulator-off-in-suspend;
				};
			};

			avdd1v8_ddr_pll_s0: pldo-reg2 {
				regulator-always-on;
				regulator-boot-on;
				regulator-min-microvolt = <1800000>;
				regulator-max-microvolt = <1800000>;
				regulator-ramp-delay = <12500>;
				regulator-name = "avdd1v8_ddr_pll_s0";
				regulator-state-mem {
					regulator-off-in-suspend;
				};
			};

			vdd_1v8_pll_s0: pldo-reg3 {
				regulator-always-on;
				regulator-boot-on;
				regulator-min-microvolt = <1800000>;
				regulator-max-microvolt = <1800000>;
				regulator-ramp-delay = <12500>;
				regulator-name = "vdd_1v8_pll_s0";
				regulator-state-mem {
					regulator-off-in-suspend;
				};
			};

			vcc_3v3_sd_s0: pldo-reg4 {
				regulator-always-on;
				regulator-boot-on;
				regulator-min-microvolt = <3300000>;
				regulator-max-microvolt = <3300000>;
				regulator-ramp-delay = <12500>;
				regulator-name = "vcc_3v3_sd_s0";
				regulator-state-mem {
					regulator-off-in-suspend;
				};
			};

			vcc_2v8_cam_s0: pldo-reg5 {
				regulator-always-on;
				regulator-boot-on;
				regulator-min-microvolt = <2800000>;
				regulator-max-microvolt = <2800000>;
				regulator-ramp-delay = <12500>;
				regulator-name = "vcc_2v8_cam_s0";
				regulator-state-mem {
					regulator-off-in-suspend;
				};
			};

			pldo6_s3: pldo-reg6 {
				regulator-always-on;
				regulator-boot-on;
				regulator-min-microvolt = <1800000>;
				regulator-max-microvolt = <1800000>;
				regulator-name = "pldo6_s3";
				regulator-state-mem {
					regulator-on-in-suspend;
					regulator-suspend-microvolt = <1800000>;
				};
			};

			vdd_0v75_pll_s0: nldo-reg1 {
				regulator-always-on;
				regulator-boot-on;
				regulator-min-microvolt = <750000>;
				regulator-max-microvolt = <750000>;
				regulator-ramp-delay = <12500>;
				regulator-name = "vdd_0v75_pll_s0";
				regulator-state-mem {
					regulator-off-in-suspend;
				};
			};

			vdd_ddr_pll_s0: nldo-reg2 {
				regulator-always-on;
				regulator-boot-on;
				regulator-min-microvolt = <850000>;
				regulator-max-microvolt = <850000>;
				regulator-name = "vdd_ddr_pll_s0";
				regulator-state-mem {
					regulator-off-in-suspend;
				};
			};

			avdd_0v85_s0: nldo-reg3 {
				regulator-always-on;
				regulator-boot-on;
				regulator-min-microvolt = <850000>;
				regulator-max-microvolt = <850000>;
				regulator-ramp-delay = <12500>;
				regulator-name = "avdd_0v85_s0";
				regulator-state-mem {
					regulator-off-in-suspend;
				};
			};

			avdd_1v2_cam_s0: nldo-reg4 {
				regulator-always-on;
				regulator-boot-on;
				regulator-min-microvolt = <1200000>;
				regulator-max-microvolt = <1200000>;
				regulator-ramp-delay = <12500>;
				regulator-name = "avdd_1v2_cam_s0";
				regulator-state-mem {
					regulator-off-in-suspend;
				};
			};

			avdd_1v2_s0: nldo-reg5 {
				regulator-always-on;
				regulator-boot-on;
				regulator-min-microvolt = <1200000>;
				regulator-max-microvolt = <1200000>;
				regulator-ramp-delay = <12500>;
				regulator-name = "avdd_1v2_s0";
				regulator-state-mem {
					regulator-off-in-suspend;
				};
			};
		};
	};
};

&tsadc {
	status = "okay";
};

&u2phy0 {
	status = "okay";
};

&u2phy0_otg {
	status = "okay";
};

&u2phy1 {
	status = "okay";
};

&u2phy1_otg {
	status = "okay";
};

&u2phy2 {
	status = "okay";
};

&u2phy2_host {
	phy-supply = <&vcc5v0_host>;
	status = "okay";
};

&u2phy3 {
	status = "okay";
};

&u2phy3_host {
	phy-supply = <&vcc5v0_host>;
	status = "okay";
};

&uart1 {
	current-speed = <115200>;
	pinctrl-names = "default";
	pinctrl-0 = <&uart1m1_xfer &uart1m1_ctsn &uart1m1_rtsn>;
	uart-has-rtscts;
	status = "okay";

	bluetooth {
		compatible = "brcm,bcm4362a2-bt", "brcm,bcm43430a1-bt";
		clocks = <&hym8563>;
		clock-names = "lpo";
		device-wakeup-gpios = <&gpio4 RK_PC4 GPIO_ACTIVE_HIGH>;
		host-wakeup-gpios = <&gpio3 RK_PA6 GPIO_ACTIVE_HIGH>;
		shutdown-gpios = <&gpio3 RK_PB1 GPIO_ACTIVE_HIGH>;
		pinctrl-names = "default";
		pinctrl-0 = <&bt_reset_gpio>, <&bt_wake_gpio>, <&bt_irq_gpio>;
		vbat-supply = <&vcc_3v3_s3>;
		vddio-supply = <&vccio_1v8_s3>;
		firmware-name = "brcm/BCM4362A2.hcd";
	};
};

&uart2 {
	pinctrl-0 = <&uart2m0_xfer>;
	status = "okay";
};

&usb_host0_ehci {	// fc800000, PHY: <&u2phy2_host>
	status = "okay";
};

&usb_host0_ohci {	// fc840000, PHY: <&u2phy2_host>
	status = "okay";
};

&usb_host1_ehci {	// fc880000, PHY: <&u2phy3_host>
	status = "okay";
};

&usb_host1_ohci {	// fc8c0000, PHY: <&u2phy3_host>
	status = "okay";
};

&usbdp_phy0 {		// fed80000
	mode-switch;
	orientation-switch;
	pinctrl-names = "default";
	pinctrl-0 = <&usbc0_sbu1 &usbc0_sbu2>;
	sbu1-dc-gpios = <&gpio4 RK_PA6 GPIO_ACTIVE_HIGH>;
	sbu2-dc-gpios = <&gpio4 RK_PA7 GPIO_ACTIVE_HIGH>;
	status = "okay";

	port {
		#address-cells = <1>;
		#size-cells = <0>;

		usbdp_phy0_ss: endpoint@0 {
			reg = <0>;
			remote-endpoint = <&usbc0_ss>;
		};

		usbdp_phy0_sbu: endpoint@1 {
			reg = <1>;
			remote-endpoint = <&usbc0_sbu>;
		};
	};
};

&usbdp_phy1 {		// fed90000
	status = "okay";
};

&usb_host0_xhci {	// fc000000, PHYs: <&u2phy0_otg>, <&usbdp_phy0 PHY_TYPE_USB3>
	usb-role-switch;
	status = "okay";

	port {
		usb_host0_xhci_to_usbc0: endpoint {
			remote-endpoint = <&usbc0_hs>;
		};
	};
};

&usb_host1_xhci {	// USB 3.x, fc400000, PHYs: <&u2phy1_otg>, <&usbdp_phy1 PHY_TYPE_USB3>
	dr_mode = "host";
	status = "okay";
};

&vop {
	/*
	 * If no dedicated PLL was specified, the GPLL would be automatically
	 * assigned as the PLL source for dclk_vop2. As the frequency of GPLL
	 * is 1188 MHz, we can only get typical clock frequencies such as
	 * 74.25MHz, 148.5MHz, 297MHz, 594MHz.
	 *
	 * So here we set the parent clock of VP2 to V0PLL so that we can get
	 * any frequency.
	 */
	assigned-clocks = <&cru DCLK_VOP0_SRC>,
			  <&cru DCLK_VOP1_SRC>,
			  <&cru DCLK_VOP2_SRC>,
			  <&cru DCLK_VOP3>;
	assigned-clock-parents = <0>, <0>, <&cru PLL_V0PLL>, <0>;
	vop-supply = <&vdd_log_s0>;
	status = "okay";
};

&vop_mmu {
	status = "okay";
};

&vp1 {
	vp1_out_hdmi0: endpoint@ROCKCHIP_VOP2_EP_HDMI0 {
		reg = <ROCKCHIP_VOP2_EP_HDMI0>;
		remote-endpoint = <&hdmi0_in_vp1>;
	};
};

&vp2 {
	vp2_out_edp1: endpoint@ROCKCHIP_VOP2_EP_EDP1 {
		reg = <ROCKCHIP_VOP2_EP_EDP1>;
		remote-endpoint = <&edp1_in_vp2>;
	};
};
